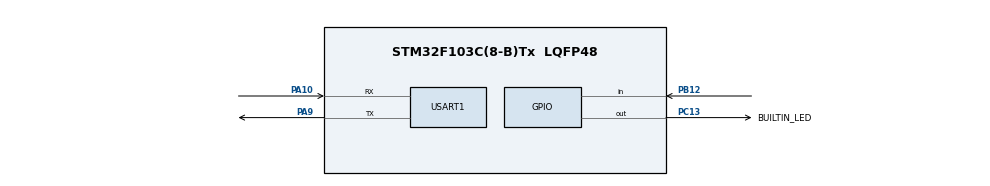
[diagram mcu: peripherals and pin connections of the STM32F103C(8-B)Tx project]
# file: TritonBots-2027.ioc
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FREERTOS.Tasks01=myTask01,24,128,StartMyTask01,Default,NULL,Dynamic,NULL,NULL
Mcu.Family=STM32F1
Mcu.Name=STM32F103C(8-B)Tx
Mcu.Package=LQFP48
NVIC.PriorityGroup=NVIC_PRIORITYGROUP_4
NVIC.TIM3_IRQn=true\:15\:0\:false\:false\:true\:false\:false\:true\:true
NVIC.TimeBase=TIM3_IRQn
NVIC.TimeBaseIP=TIM3
NVIC.USART1_IRQn=true\:5\:0\:false\:false\:true\:true\:true\:true\:true
PA10.Mode=Asynchronous
PA10.Signal=USART1_RX
PA13.Mode=Serial_Wire
PA13.Signal=SYS_JTMS-SWDIO
PA14.Mode=Serial_Wire
PA14.Signal=SYS_JTCK-SWCLK
PA9.Mode=Asynchronous
PA9.Signal=USART1_TX
PB12.GPIO_PuPd=GPIO_PULLDOWN
PB12.Signal=GPIO_Input
PC13-TAMPER-RTC.GPIO_Label=BUILTIN_LED
PC13-TAMPER-RTC.PinState=GPIO_PIN_SET
PC13-TAMPER-RTC.Signal=GPIO_Output
ProjectManager.HeapSize=0x200
ProjectManager.StackSize=0x400
ProjectManager.TargetToolchain=CMake
RCC.APB1Freq_Value=8000000
RCC.APB2Freq_Value=8000000
USART1.VirtualMode=VM_ASYNC
VP_FREERTOS_VS_CMSIS_V2.Mode=CMSIS_V2
VP_SYS_VS_tim3.Mode=TIM3
board=custom

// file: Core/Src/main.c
/* USER CODE BEGIN Header */
/**
  ******************************************************************************
  * @file           : main.c
  * @brief          : Main program body
  ******************************************************************************
  * @attention
  *
  * Copyright (c) 2026 STMicroelectronics.
  * All rights reserved.
  *
  * This software is licensed under terms that can be found in the LICENSE file
  * in the root directory of this software component.
  * If no LICENSE file comes with this software, it is provided AS-IS.
  *
  ******************************************************************************
  */
/* USER CODE END Header */
#include "main.h"
#include "cmsis_os.h"

/* USER CODE BEGIN PD */
#ifndef true
  #define true 1
#endif
#ifndef false
  #define false 0
#endif

#define LED_ON GPIO_PIN_RESET
#define LED_OFF GPIO_PIN_SET
/* USER CODE END PD */

UART_HandleTypeDef huart1;

/* Definitions for myTask01 */
osThreadId_t myTask01Handle;
const osThreadAttr_t myTask01_attributes = {
  .name = "myTask01",
  .stack_size = 128 * 4,
  .priority = (osPriority_t) osPriorityNormal,
};
/* USER CODE BEGIN PV */
#define RX_DATA_SIZE 1
uint8_t rx_index;
uint8_t rx_data[RX_DATA_SIZE];
uint8_t rx_buffer[10];
uint8_t isLightOn = LED_OFF;
/* USER CODE END PV */

void SystemClock_Config(void);
static void MX_GPIO_Init(void);
static void MX_USART1_UART_Init(void);
void StartMyTask01(void *argument);

int main(void)
{

  /* MCU Configuration--------------------------------------------------------*/

  /* Reset of all peripherals, Initializes the Flash interface and the Systick. */
  HAL_Init();

  /* Configure the system clock */
  SystemClock_Config();

  /* Initialize all configured peripherals */
  MX_GPIO_Init();
  MX_USART1_UART_Init();

  /* Init scheduler */
  osKernelInitialize();

  /* Create the thread(s) */
  /* creation of myTask01 */
  myTask01Handle = osThreadNew(StartMyTask01, NULL, &myTask01_attributes);

  /* Start scheduler */
  osKernelStart();

  /* We should never get here as control is now taken by the scheduler */

  /* Infinite loop */
  while (1)
  {

  }
}

void SystemClock_Config(void)
{
  RCC_OscInitTypeDef RCC_OscInitStruct = {0};
  RCC_ClkInitTypeDef RCC_ClkInitStruct = {0};

  /** Initializes the RCC Oscillators according to the specified parameters
  * in the RCC_OscInitTypeDef structure.
  */
  RCC_OscInitStruct.OscillatorType = RCC_OSCILLATORTYPE_HSI;
  RCC_OscInitStruct.HSIState = RCC_HSI_ON;
  RCC_OscInitStruct.HSICalibrationValue = RCC_HSICALIBRATION_DEFAULT;
  RCC_OscInitStruct.PLL.PLLState = RCC_PLL_NONE;
  if (HAL_RCC_OscConfig(&RCC_OscInitStruct) != HAL_OK)
  {
    Error_Handler();
  }

  /** Initializes the CPU, AHB and APB buses clocks
  */
  RCC_ClkInitStruct.ClockType = RCC_CLOCKTYPE_HCLK|RCC_CLOCKTYPE_SYSCLK
                              |RCC_CLOCKTYPE_PCLK1|RCC_CLOCKTYPE_PCLK2;
  RCC_ClkInitStruct.SYSCLKSource = RCC_SYSCLKSOURCE_HSI;
  RCC_ClkInitStruct.AHBCLKDivider = RCC_SYSCLK_DIV1;
  RCC_ClkInitStruct.APB1CLKDivider = RCC_HCLK_DIV1;
  RCC_ClkInitStruct.APB2CLKDivider = RCC_HCLK_DIV1;

  if (HAL_RCC_ClockConfig(&RCC_ClkInitStruct, FLASH_LATENCY_0) != HAL_OK)
  {
    Error_Handler();
  }
}

static void MX_USART1_UART_Init(void)
{

  huart1.Instance = USART1;
  huart1.Init.BaudRate = 115200;
  huart1.Init.WordLength = UART_WORDLENGTH_8B;
  huart1.Init.StopBits = UART_STOPBITS_1;
  huart1.Init.Parity = UART_PARITY_NONE;
  huart1.Init.Mode = UART_MODE_TX_RX;
  huart1.Init.HwFlowCtl = UART_HWCONTROL_NONE;
  huart1.Init.OverSampling = UART_OVERSAMPLING_16;
  if (HAL_UART_Init(&huart1) != HAL_OK)
  {
    Error_Handler();
  }

}

static void MX_GPIO_Init(void)
{
  GPIO_InitTypeDef GPIO_InitStruct = {0};

  /* GPIO Ports Clock Enable */
  __HAL_RCC_GPIOC_CLK_ENABLE();
  __HAL_RCC_GPIOB_CLK_ENABLE();
  __HAL_RCC_GPIOA_CLK_ENABLE();

  /*Configure GPIO pin Output Level */
  HAL_GPIO_WritePin(BUILTIN_LED_GPIO_Port, BUILTIN_LED_Pin, GPIO_PIN_SET);

  /*Configure GPIO pin : BUILTIN_LED_Pin */
  GPIO_InitStruct.Pin = BUILTIN_LED_Pin;
  GPIO_InitStruct.Mode = GPIO_MODE_OUTPUT_PP;
  GPIO_InitStruct.Pull = GPIO_NOPULL;
  GPIO_InitStruct.Speed = GPIO_SPEED_FREQ_LOW;
  HAL_GPIO_Init(BUILTIN_LED_GPIO_Port, &GPIO_InitStruct);

  /*Configure GPIO pin : PB12 */
  GPIO_InitStruct.Pin = GPIO_PIN_12;
  GPIO_InitStruct.Mode = GPIO_MODE_INPUT;
  GPIO_InitStruct.Pull = GPIO_PULLDOWN;
  HAL_GPIO_Init(GPIOB, &GPIO_InitStruct);

}

/* USER CODE BEGIN 4 */
void HAL_UART_RxCpltCallback(UART_HandleTypeDef *huart)
{
  if (huart->Instance == USART1)
  {
      if (rx_data[0] == '1')
          HAL_GPIO_WritePin(GPIOC, GPIO_PIN_13, LED_ON);
      else if (rx_data[0] == '0')
          HAL_GPIO_WritePin(GPIOC, GPIO_PIN_13, LED_OFF);

      HAL_UART_Receive_IT(&huart1, rx_data, RX_DATA_SIZE);
  }
}
/* USER CODE END 4 */

void StartMyTask01(void *argument)
{
  /* USER CODE BEGIN 5 */
  /*
    Wire PA10 to D19 on the ESP32 and make sure they share the same Ground
  */
  /* Arduino Code:
    #include <WiFi.h>
    #include <WiFiUdp.h>

    // WiFi credentials
    const char* ssid = "TODO: YOUR WIFI SSID. DO NOT PUSH";
    const char* password = "TODO: YOUR WIFI PASSWORD. DO NOT PUSH";

    // UDP
    WiFiUDP udp;
    const uint16_t localPort = 4210;
    char packetBuffer[10];

    // UART
    #define TXD1 19
    #define RXD1 21
    HardwareSerial mySerial(1);

    char lightState = '0';

    void setup() {
      Serial.begin(115200);

      mySerial.begin(115200, SERIAL_8N1, RXD1, TXD1);

      Serial.println();
      Serial.print("Connecting to WiFi");

      WiFi.begin(ssid, password);

      while (WiFi.status() != WL_CONNECTED) {
        delay(500);
        Serial.print(".");
      }

      Serial.println();
      Serial.println("Connected!");

      Serial.print("IP Address: ");
      Serial.println(WiFi.localIP());

      udp.begin(localPort);

      Serial.print("Listening on UDP port ");
      Serial.println(localPort);
    }

    void loop() {

      int packetSize = udp.parsePacket();

      if (packetSize) {
        int len = udp.read(packetBuffer, sizeof(packetBuffer) - 1);

        if (len > 0)
          packetBuffer[len] = '\0';

        Serial.print("Received: ");
        Serial.println(packetBuffer);

        if (packetBuffer[0] == '0' || packetBuffer[0] == '1') {
          lightState = packetBuffer[0];
        }
      }

      mySerial.println(lightState);

      Serial.print("UART Sent: ");
      Serial.println(lightState);

      delay(1000);
    }
  */
  /* Python Script:
    import socket

    ESP32_IP = "192.168.68.64"   # Change this
    ESP32_PORT = 4210

    sock = socket.socket(socket.AF_INET, socket.SOCK_DGRAM)

    print("Type 0 or 1. Type q to quit.")

    while True:
        cmd = input("> ").strip()

        if cmd.lower() == "q":
            break

        if cmd not in ("0", "1"):
            print("Enter only 0 or 1.")
            continue

        sock.sendto(cmd.encode(), (ESP32_IP, ESP32_PORT))
        print("Sent:", cmd)

    sock.close()
  */
  HAL_UART_Receive_IT(&huart1, rx_data, RX_DATA_SIZE);
  /* Infinite loop */
  for(;;)
  {
    if (true == rx_data[0] - '0') {
      HAL_GPIO_WritePin(GPIOC, GPIO_PIN_13, LED_ON);
    } else if (false == rx_data[0] - '0') {
      HAL_GPIO_WritePin(GPIOC, GPIO_PIN_13, LED_OFF);
    }
    osDelay(1);
  }
  /* USER CODE END 5 */
}

void HAL_TIM_PeriodElapsedCallback(TIM_HandleTypeDef *htim)
{
  if (htim->Instance == TIM3)
  {
    HAL_IncTick();
  }
}

void Error_Handler(void)
{
  __disable_irq();
  while (1)
  {
  }
}
